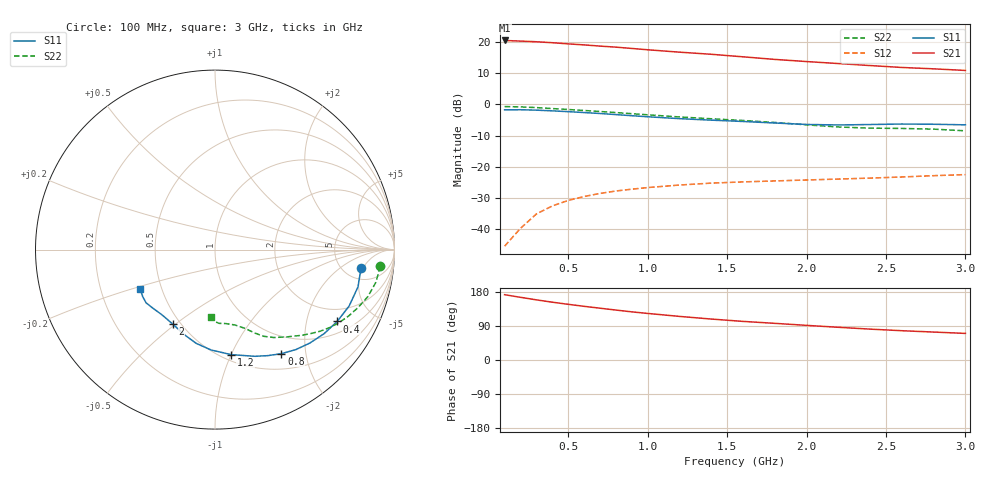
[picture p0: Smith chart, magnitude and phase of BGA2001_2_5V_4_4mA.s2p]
! Title: BGA2001
! Bias: Vce=2.5V,Ic=4.4mA
! Company: Philips Semiconductors NL
! User: Quality&Reliability T&D
! Measure time: 23 Oct 1998 / 09:19:57
#  MHz  S  MA  R 50
! Freq  S11  S21  S12  S22  :
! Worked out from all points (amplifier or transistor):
!   20 points, 100 MHz to 3 GHz, reference 50 ohm
!   highest |S21| = 20.6 dB at 100 MHz (marker M1)
!   |S21| within 3 dB of that: start of sweep to 1.001 GHz
!   unconditionally stable (mu >= 1): 2.082 GHz to end of sweep
!   at 400 MHz: K = 0.22, MSG = 26.3 dB, |S12| = -32.7 dB
!   at 1.2 GHz: K = 0.55, MSG = 21.4 dB, |S12| = -25.9 dB
!   at 3 GHz: K = 1.23, MAG = 13.9 dB, |S12| = -22.6 dB
!   S11 on the Smith chart (normalised r, x): 100 MHz: 7.26, -4.53; 400 MHz: 1.43, -3.05; 800 MHz: 0.72, -1.58; 1.2 GHz: 0.55, -1.00; 2 GHz: 0.46, -0.49; 3 GHz: 0.38, -0.21
100  0.8202 -7.2  10.73 172.3  0.005248 58.5  0.9255 -5.8
200  0.8233 -14.7  10.48 165.4  0.01015 80.6  0.915 -11.4
300  0.8107 -22.8  10.22 158.7  0.01732 78.9  0.8913 -17.1
400  0.7898 -30.5  9.866 152.6  0.0233 74.2  0.86 -22.0
500  0.7672 -37.6  9.451 146.9  0.02857 70.2  0.8308 -26.5
600  0.742 -44.5  9.1 141.7  0.03305 66.6  0.801 -30.6
700  0.7165 -51.0  8.705 136.7  0.03701 63.5  0.7717 -34.3
800  0.6878 -57.5  8.374 131.8  0.04052 60.6  0.7415 -37.8
900  0.6599 -63.5  7.979 127.0  0.04335 58.3  0.7114 -41.1
1000  0.6347 -69.5  7.597 122.9  0.04604 56.4  0.6825 -44.3
1200  0.5918 -81.3  6.953 115.1  0.05054 53.1  0.6301 -50.5
1400  0.5598 -92.2  6.431 108.1  0.05427 50.7  0.5894 -56.2
1600  0.533 -101.3  5.852 101.9  0.05679 49.6  0.553 -60.8
1800  0.5036 -109.9  5.316 96.8  0.05887 49.9  0.5139 -64.6
2000  0.4774 -119.3  4.909 91.4  0.06095 49.3  0.4705 -69.0
2200  0.4683 -129.0  4.559 86.3  0.06309 48.9  0.4346 -75.1
2400  0.4761 -136.9  4.233 81.5  0.06538 49.3  0.4163 -81.8
2600  0.4851 -142.3  3.944 77.3  0.06814 50.9  0.4116 -86.8
2800  0.4807 -146.9  3.747 73.7  0.07152 51.4  0.4012 -90.0
3000  0.4706 -152.5  3.531 70.2  0.07447 52.3  0.3768 -93.3
